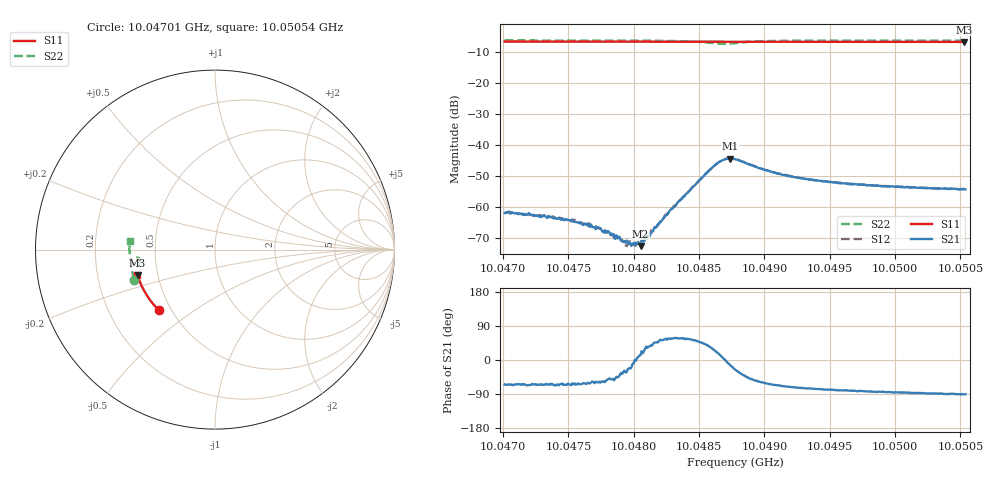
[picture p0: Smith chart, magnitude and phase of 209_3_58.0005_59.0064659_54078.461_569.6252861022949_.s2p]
#  HZ  S  RI  R  50.00
! Rohde & Schwarz Vector Network Analyzer
! Rohde-Schwarz,ZNB20-2Port,1311601062101988,3.16
! Created: UTC 3/21/2024, 12:59:41 AM
! freq[Hz]  re:S11  im:S11  re:S21  im:S21  re:S12  im:S12  re:S22  im:S22
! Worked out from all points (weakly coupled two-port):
!   401 points, 10.04701 GHz to 10.05054 GHz, reference 50 ohm
!   highest |S21| = -44.45 dB at 10.04874 GHz (marker M1); lowest = -72.6 dB at 10.04805 GHz (marker M2)
!   lowest |S11| = -6.9 dB at 10.05053 GHz (marker M3), VSWR 2.66, Z = 19.2 - j6.83 ohm
!   |S11| at or under -10 dB: nowhere
!   |S22| runs from -7.5 to -6.4 dB; largest |S21 - S12| = 0.00041
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1.0047012e10  -0.3129 -0.3378  0.000345 -0.000718  0.000402 -0.000728  -0.4491 -0.1682
1.0047364e10  -0.3293 -0.3209  0.000292 -0.000625  0.000345 -0.000599  -0.4562 -0.1449
1.0047602e10  -0.3397 -0.3091  0.000236 -0.000473  0.000299 -0.000474  -0.4604 -0.1282
1.0047735e10  -0.3453 -0.3025  0.000248 -0.000388  0.00025 -0.00037  -0.4623 -0.1187
1.004784e10  -0.3497 -0.2969  0.000225 -0.000268  0.000249 -0.00024  -0.4636 -0.1109
1.0047876e10  -0.3512 -0.2951  0.000216 -0.000222  0.000266 -0.000206  -0.464 -0.1083
1.0047937e10  -0.3537 -0.2918  0.000223 -0.000142  0.000224 -9.76e-05  -0.4648 -0.1035
1.004799e10  -0.3559 -0.2889  0.000247 -4.56e-05  0.000266 -5.14e-05  -0.4652 -0.0993
1.0048025e10  -0.3572 -0.2872  0.000253 2.6e-05  0.000259 2.86e-05  -0.4655 -0.0964
1.0048052e10  -0.3583 -0.2858  0.000228 5.28e-05  0.00026 8.55e-05  -0.4658 -0.0942
1.0048122e10  -0.3612 -0.2823  0.000273 0.0002  0.000289 0.000247  -0.4659 -0.0883
1.0048193e10  -0.3639 -0.2784  0.000344 0.00041  0.000316 0.000443  -0.4659 -0.0818
1.004829e10  -0.3675 -0.273  0.000497 0.000772  0.000464 0.000821  -0.4648 -0.0724
1.0048598e10  -0.3785 -0.256  0.00368 0.00218  0.00354 0.00241  -0.4346 -0.0435
1.0048669e10  -0.3807 -0.252  0.0054 0.000956  0.00541 0.0013  -0.4198 -0.0533
1.0048739e10  -0.3832 -0.2483  0.0058 -0.00148  0.00593 -0.00111  -0.4201 -0.0727
1.0048775e10  -0.3842 -0.2465  0.00532 -0.00249  0.00549 -0.00213  -0.4266 -0.0794
1.0049074e10  -0.3946 -0.2297  0.00146 -0.00326  0.00168 -0.0032  -0.4664 -0.0619
1.0049365e10  -0.4035 -0.2127  0.000677 -0.00266  0.000809 -0.00262  -0.4739 -0.0359
1.0049956e10  -0.4193 -0.177  0.000205 -0.00215  0.000315 -0.00212  -0.4764 0.00838
1.0050529e10  -0.4317 -0.1413  -2.88e-05 -0.00194  7.66e-05 -0.00194  -0.474 0.0479
1.0050538e10  -0.432 -0.1407  -8.94e-06 -0.00191  8.78e-05 -0.00191  -0.4741 0.0484
